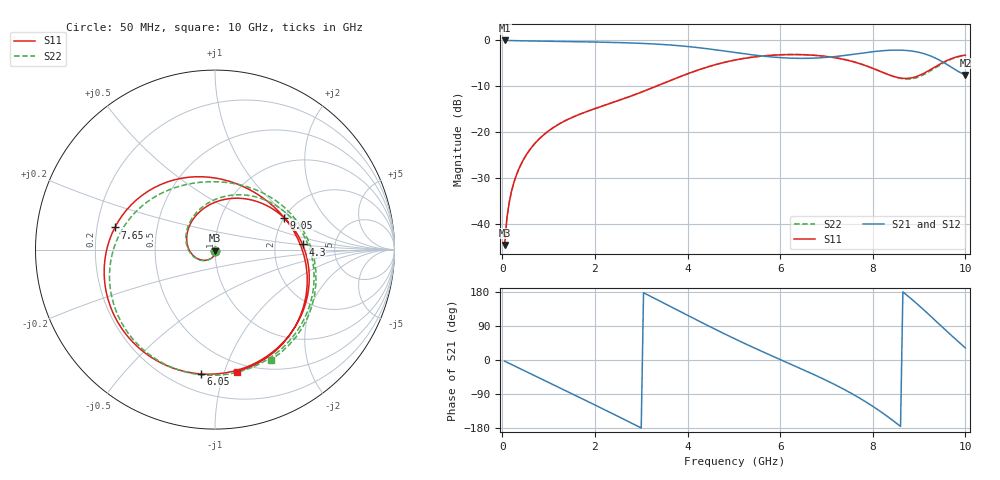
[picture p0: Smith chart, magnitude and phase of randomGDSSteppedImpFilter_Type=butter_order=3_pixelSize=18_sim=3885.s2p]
! freq	dB(S11)	phase(S11)	dB(S12)	phase(S12)
!  dB(S21)	phase(S21)	dB(S22)	phase(S22)
!S-par simulation data
#  GHz  S  DB  R 50
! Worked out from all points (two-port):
!   200 points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, 50 MHz to 10 GHz, reference 50 ohm
!   highest |S21| = -0.02 dB at 50 MHz (marker M1); lowest = -7.6 dB at 10 GHz (marker M2)
!   |S21| within 3 dB of the highest: start of sweep to 5.299 GHz; 7.593 GHz to 9.145 GHz (1.552 GHz wide, 18.6 % of centre)
!   lowest |S11| = -44.6 dB at 50 MHz (marker M3), VSWR 1.01, Z = 50.1 - j0.577 ohm
!   |S11| at or under -10 dB: start of sweep to 3.322 GHz
!   |S22| runs from -44.8 to -3.1 dB; largest |S21 - S12| = 0
!   S11 on the Smith chart (normalised r, x): 50 MHz: 1.00, -0.01; 4.3 GHz: 2.89, +0.22; 6.05 GHz: 0.31, -0.84; 7.65 GHz: 0.28, +0.10; 9.05 GHz: 2.00, +0.87; 10 GHz: 0.42, -1.10
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0.05  -44.60 -78.0  -0.02 -3.0  -0.02 -3.0  -44.84 -76.9
0.1  -38.68 -82.5  -0.03 -6.0  -0.03 -6.0  -38.74 -82.1
0.2  -32.85 -91.4  -0.06 -11.9  -0.06 -11.9  -32.84 -91.2
0.5  -25.23 -114.7  -0.11 -29.6  -0.11 -29.6  -25.25 -113.9
1.15  -18.69 -157.3  -0.21 -68.1  -0.21 -68.1  -18.68 -155.3
1.75  -15.79 164.8  -0.31 -103.7  -0.31 -103.7  -15.78 168.4
2.65  -12.61 107.6  -0.52 -157.9  -0.52 -157.9  -12.61 114.4
3.4  -9.68 59.8  -0.86 155.6  -0.86 155.6  -9.68 68.6
3.85  -7.86 31.3  -1.19 127.4  -1.19 127.4  -7.86 40.8
4.3  -6.22 3.3  -1.67 99.3  -1.67 99.3  -6.22 13.0
5.05  -4.24 -41.3  -2.68 54.2  -2.68 54.2  -4.23 -31.5
6.05  -3.13 -96.4  -3.79 -1.4  -3.79 -1.4  -3.11 -86.1
6.7  -3.23 -131.8  -3.88 -36.8  -3.88 -36.8  -3.21 -120.6
7.2  -3.81 -161.6  -3.52 -66.1  -3.52 -66.1  -3.78 -148.8
7.65  -4.86 167.5  -2.94 -95.9  -2.94 -95.9  -4.82 -177.3
8  -6.10 139.1  -2.48 -122.2  -2.48 -122.2  -6.06 157.3
8.35  -7.52 105.4  -2.17 -152.0  -2.17 -152.0  -7.52 128.0
8.7  -8.29 66.4  -2.18 174.8  -2.18 174.8  -8.43 92.8
9.05  -7.44 24.8  -2.74 138.0  -2.74 138.0  -7.72 51.0
9.3  -6.04 -4.4  -3.62 110.0  -3.62 110.0  -6.30 19.1
9.55  -4.63 -32.6  -4.94 81.5  -4.94 81.5  -4.81 -12.2
10  -3.22 -79.8  -7.55 31.7  -7.55 31.7  -3.25 -63.0
